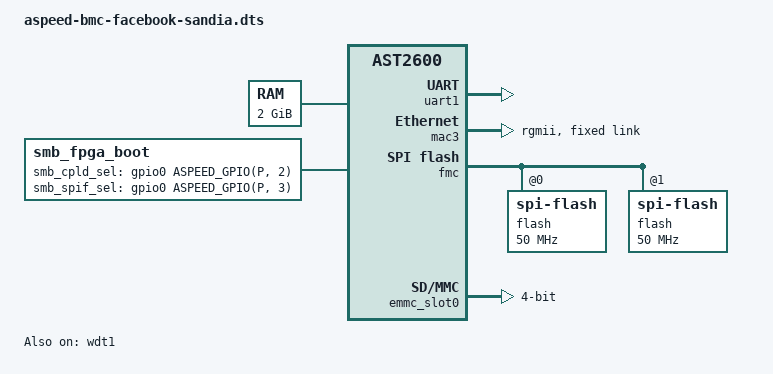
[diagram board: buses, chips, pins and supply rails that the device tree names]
// SPDX-License-Identifier: GPL-2.0+
/*
 * Copyright (c) Meta Platforms, Inc. and affiliates.
 */

/dts-v1/;

#include "ast2600-u-boot.dtsi"

/ {
	memory {
		device_type = "memory";
		reg = <0x80000000 0x80000000>;
	};

	chosen {
		stdout-path = &uart1;
	};

	aliases {
		spi0 = &fmc;
		ethernet0 = &mac3;
	};

	cpus {
		cpu@0 {
			clock-frequency = <800000000>;
		};
		cpu@1 {
			clock-frequency = <800000000>;
		};
	};
};

&uart1 {
	u-boot,dm-pre-reloc;
	status = "okay";
};

&wdt1 {
	u-boot,dm-pre-reloc;
	status = "okay";
};

&mac3 {
	status = "okay";

	phy-mode = "rgmii";
	pinctrl-names = "default";
	pinctrl-0 = <&pinctrl_rgmii4_default &pinctrl_mac4link_default>;

	fixed-link {
		speed = <1000>;
		full-duplex;
	};
};

&fmc {
	status = "okay";

	flash@0 {
		compatible = "spi-flash", "sst,w25q256";
		status = "okay";
		spi-max-frequency = <50000000>;
		spi-tx-bus-width = <2>;
		spi-rx-bus-width = <2>;
	};

	flash@1 {
		compatible = "spi-flash", "sst,w25q256";
		status = "okay";
		spi-max-frequency = <50000000>;
		spi-tx-bus-width = <2>;
		spi-rx-bus-width = <2>;
	};
};

&sdrammc {
	clock-frequency = <400000000>;
};

&emmc_slot0 {
	status = "okay";
	bus-width = <4>;
	pinctrl-names = "default";
	pinctrl-0 = <&pinctrl_emmc_default>;
};

&scu {
        /* In runBMC of same design, Lassen, it sees some yield loss where
         * certain cards fail to ping in u-boot but can ping in Linux. Apply
         * same TX delay on RGMII in u-boot to match Linux setting. Sandia has
         * not seen the issue yet. This is a prevention.
         */
        mac2-clk-delay = <0x08 0x04
                          0x08 0x04
                          0x08 0x04>;
        mac3-clk-delay = <0x08 0x04
                          0x08 0x04
                          0x08 0x04>;
};

#include <dt-bindings/gpio/aspeed-gpio.h>
/ {
	smb_fpga_boot {
		u-boot,dm-pre-reloc;
		compatible = "smb_fpga_boot";
		/* AST2600:
		 * GPIO controller 0 is at 0x1e780000.
		 * GPIO bank P starts from 120 (0x078).
		 *
		 * From u-boot shell:
		 * GPIO P2 is 120 + 2 = 122 -> gpio status gpio@1e780000122
		 * GPIO P3 is 120 + 3 = 123 -> gpio status gpio@1e780000123
		 */
		smb_cpld_sel-gpios = <&gpio0 ASPEED_GPIO(P, 2) GPIO_ACTIVE_HIGH>;
		smb_spif_sel-gpios = <&gpio0 ASPEED_GPIO(P, 3) GPIO_ACTIVE_HIGH>;
	};
};
